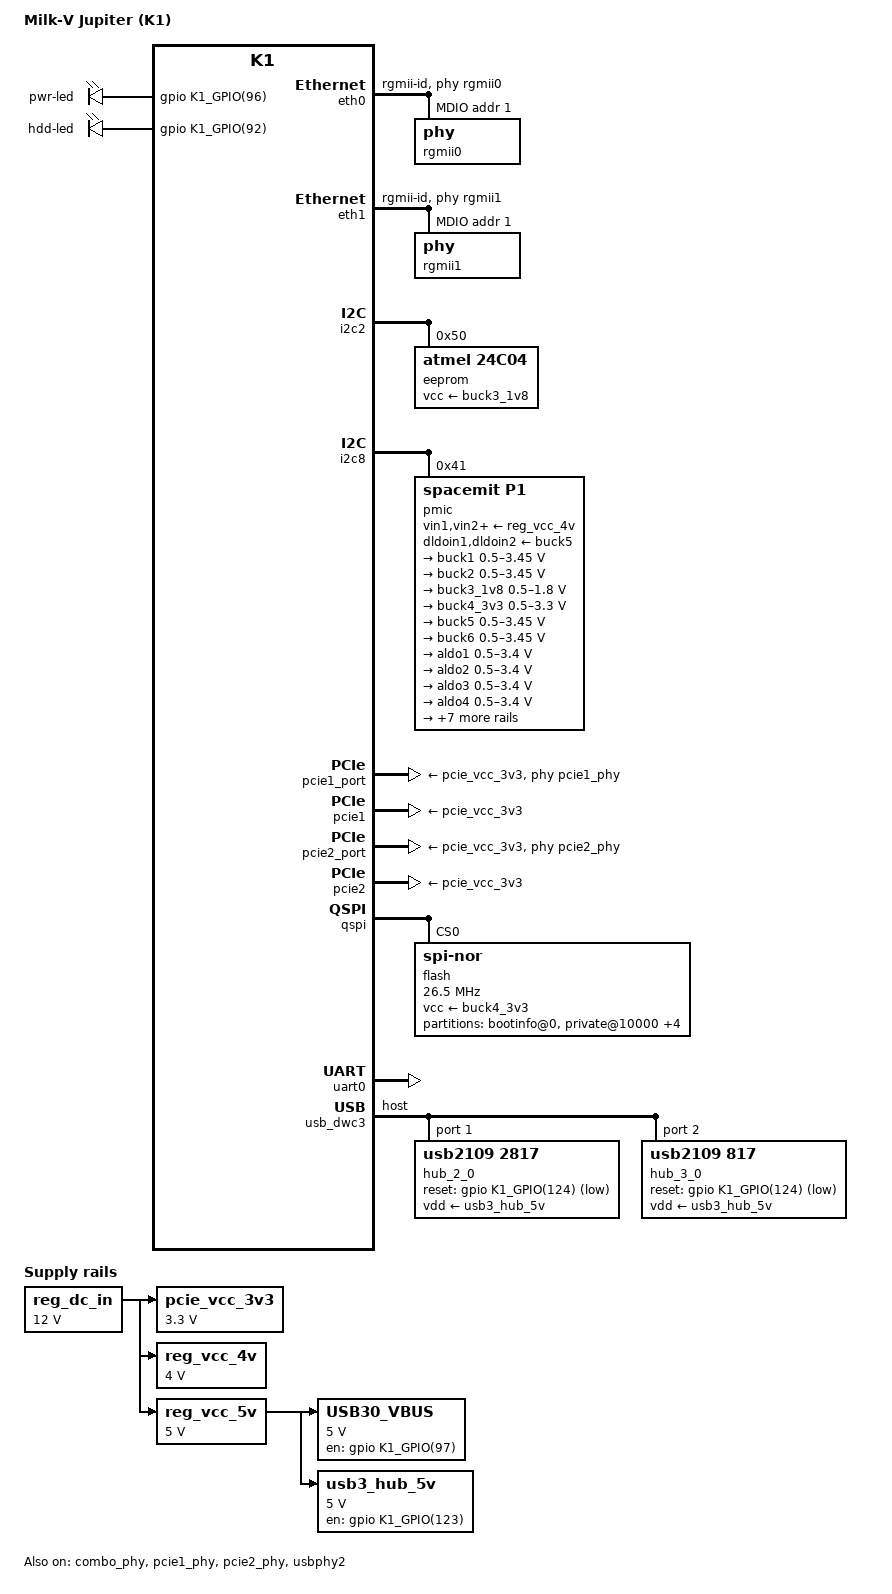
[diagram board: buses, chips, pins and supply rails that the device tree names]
// SPDX-License-Identifier: GPL-2.0 OR MIT
/*
 * Copyright (C) 2024 Yangyu Chen <cyy@cyyself.name>
 * Copyright (C) 2025 Javier Martinez Canillas <javierm@redhat.com>
 */

#include "k1.dtsi"
#include "k1-pinctrl.dtsi"

/ {
	model = "Milk-V Jupiter (K1)";
	compatible = "milkv,jupiter", "spacemit,k1";

	aliases {
		ethernet0 = &eth0;
		ethernet1 = &eth1;
		serial0 = &uart0;
		i2c2 = &i2c2;
		i2c8 = &i2c8;
	};

	chosen {
		stdout-path = "serial0";
	};

	leds {
		compatible = "gpio-leds";

		led1 {
			label = "pwr-led";
			gpios = <&gpio K1_GPIO(96) GPIO_ACTIVE_HIGH>;
			linux,default-trigger = "default-on";
			default-state = "on";
		};

		led2 {
			label = "hdd-led";
			gpios = <&gpio K1_GPIO(92) GPIO_ACTIVE_HIGH>;
			linux,default-trigger = "disk-activity";
		};
	};

	pcie_vcc_3v3: regulator-pcie-vcc3v3 {
		compatible = "regulator-fixed";
		regulator-name = "pcie_vcc3v3";
		regulator-min-microvolt = <3300000>;
		regulator-max-microvolt = <3300000>;
		regulator-boot-on;
		regulator-always-on;
		vin-supply = <&reg_dc_in>;
	};

	reg_dc_in: regulator-dc-in-12v {
		compatible = "regulator-fixed";
		regulator-name = "dc_in_12v";
		regulator-min-microvolt = <12000000>;
		regulator-max-microvolt = <12000000>;
		regulator-boot-on;
		regulator-always-on;
	};

	reg_vcc_4v: regulator-vcc-4v {
		compatible = "regulator-fixed";
		regulator-name = "vcc_4v";
		regulator-min-microvolt = <4000000>;
		regulator-max-microvolt = <4000000>;
		regulator-boot-on;
		regulator-always-on;
		vin-supply = <&reg_dc_in>;
	};

	reg_vcc_5v: regulator-vcc-5v {
		compatible = "regulator-fixed";
		regulator-name = "vcc_5v";
		regulator-min-microvolt = <5000000>;
		regulator-max-microvolt = <5000000>;
		regulator-boot-on;
		regulator-always-on;
		vin-supply = <&reg_dc_in>;
	};

	regulator-usb3-vbus-5v {
		compatible = "regulator-fixed";
		regulator-name = "USB30_VBUS";
		regulator-min-microvolt = <5000000>;
		regulator-max-microvolt = <5000000>;
		regulator-always-on;
		vin-supply = <&reg_vcc_5v>;
		gpio = <&gpio K1_GPIO(97) GPIO_ACTIVE_HIGH>;
		enable-active-high;
	};

	usb3_hub_5v: regulator-usb3-hub-5v {
		compatible = "regulator-fixed";
		regulator-name = "USB30_HUB";
		regulator-min-microvolt = <5000000>;
		regulator-max-microvolt = <5000000>;
		vin-supply = <&reg_vcc_5v>;
		gpio = <&gpio K1_GPIO(123) GPIO_ACTIVE_HIGH>;
		enable-active-high;
	};
};

&combo_phy {
	status = "okay";
};

&eth0 {
	phy-handle = <&rgmii0>;
	phy-mode = "rgmii-id";
	pinctrl-names = "default";
	pinctrl-0 = <&gmac0_cfg>;
	rx-internal-delay-ps = <0>;
	tx-internal-delay-ps = <0>;
	status = "okay";

	mdio-bus {
		#address-cells = <0x1>;
		#size-cells = <0x0>;

		reset-gpios = <&gpio K1_GPIO(110) GPIO_ACTIVE_LOW>;
		reset-delay-us = <10000>;
		reset-post-delay-us = <100000>;

		rgmii0: phy@1 {
			reg = <0x1>;
		};
	};
};

&eth1 {
	phy-handle = <&rgmii1>;
	phy-mode = "rgmii-id";
	pinctrl-names = "default";
	pinctrl-0 = <&gmac1_cfg>;
	rx-internal-delay-ps = <0>;
	tx-internal-delay-ps = <250>;
	status = "okay";

	mdio-bus {
		#address-cells = <0x1>;
		#size-cells = <0x0>;

		reset-gpios = <&gpio K1_GPIO(115) GPIO_ACTIVE_LOW>;
		reset-delay-us = <10000>;
		reset-post-delay-us = <100000>;

		rgmii1: phy@1 {
			reg = <0x1>;
		};
	};
};

&pdma {
	status = "okay";
};

&i2c2 {
	pinctrl-0 = <&i2c2_0_cfg>;
	pinctrl-names = "default";
	status = "okay";

	eeprom@50 {
		compatible = "atmel,24c04";
		reg = <0x50>;
		vcc-supply = <&buck3_1v8>; /* EEPROM_VCC18 */
		pagesize = <16>;
		read-only;
		size = <512>;

		nvmem-layout {
			compatible = "onie,tlv-layout";

			product-name {
			};
		};
	};
};

&i2c8 {
	pinctrl-0 = <&i2c8_cfg>;
	pinctrl-names = "default";
	status = "okay";

	pmic@41 {
		compatible = "spacemit,p1";
		reg = <0x41>;
		interrupts = <64>;
		vin1-supply = <&reg_vcc_4v>;
		vin2-supply = <&reg_vcc_4v>;
		vin3-supply = <&reg_vcc_4v>;
		vin4-supply = <&reg_vcc_4v>;
		vin5-supply = <&reg_vcc_4v>;
		vin6-supply = <&reg_vcc_4v>;
		aldoin-supply = <&reg_vcc_4v>;
		dldoin1-supply = <&buck5>;
		dldoin2-supply = <&buck5>;

		regulators {
			buck1 {
				regulator-min-microvolt = <500000>;
				regulator-max-microvolt = <3450000>;
				regulator-ramp-delay = <5000>;
				regulator-always-on;
			};

			buck2 {
				regulator-min-microvolt = <500000>;
				regulator-max-microvolt = <3450000>;
				regulator-ramp-delay = <5000>;
				regulator-always-on;
			};

			buck3_1v8: buck3 {
				regulator-min-microvolt = <500000>;
				regulator-max-microvolt = <1800000>;
				regulator-ramp-delay = <5000>;
				regulator-always-on;
			};

			buck4_3v3: buck4 {
				regulator-min-microvolt = <500000>;
				regulator-max-microvolt = <3300000>;
				regulator-ramp-delay = <5000>;
				regulator-always-on;
			};

			buck5: buck5 {
				regulator-min-microvolt = <500000>;
				regulator-max-microvolt = <3450000>;
				regulator-ramp-delay = <5000>;
				regulator-always-on;
			};

			buck6 {
				regulator-min-microvolt = <500000>;
				regulator-max-microvolt = <3450000>;
				regulator-ramp-delay = <5000>;
				regulator-always-on;
			};

			aldo1 {
				regulator-min-microvolt = <500000>;
				regulator-max-microvolt = <3400000>;
				regulator-boot-on;
			};

			aldo2 {
				regulator-min-microvolt = <500000>;
				regulator-max-microvolt = <3400000>;
			};

			aldo3 {
				regulator-min-microvolt = <500000>;
				regulator-max-microvolt = <3400000>;
			};

			aldo4 {
				regulator-min-microvolt = <500000>;
				regulator-max-microvolt = <3400000>;
			};

			dldo1 {
				regulator-min-microvolt = <500000>;
				regulator-max-microvolt = <3400000>;
				regulator-boot-on;
			};

			dldo2 {
				regulator-min-microvolt = <500000>;
				regulator-max-microvolt = <3400000>;
			};

			dldo3 {
				regulator-min-microvolt = <500000>;
				regulator-max-microvolt = <3400000>;
			};

			dldo4 {
				regulator-min-microvolt = <500000>;
				regulator-max-microvolt = <3400000>;
				regulator-always-on;
			};

			dldo5 {
				regulator-min-microvolt = <500000>;
				regulator-max-microvolt = <3400000>;
			};

			dldo6 {
				regulator-min-microvolt = <500000>;
				regulator-max-microvolt = <3400000>;
				regulator-always-on;
			};

			dldo7 {
				regulator-min-microvolt = <500000>;
				regulator-max-microvolt = <3400000>;
			};
		};
	};
};

&pcie1_phy {
	pinctrl-names = "default";
	pinctrl-0 = <&pcie1_3_cfg>;
	status = "okay";
};

&pcie1_port {
	phys = <&pcie1_phy>;
	vpcie3v3-supply = <&pcie_vcc_3v3>;
};

&pcie1 {
	vpcie3v3-supply = <&pcie_vcc_3v3>;
	status = "okay";
};

&pcie2_phy {
	pinctrl-names = "default";
	pinctrl-0 = <&pcie2_4_cfg>;
	status = "okay";
};

&pcie2_port {
	phys = <&pcie2_phy>;
	vpcie3v3-supply = <&pcie_vcc_3v3>;
};

&pcie2 {
	vpcie3v3-supply = <&pcie_vcc_3v3>;
	status = "okay";
};

&qspi {
	pinctrl-names = "default";
	pinctrl-0 = <&qspi_cfg>;
	status = "okay";

	flash@0 {
		compatible = "jedec,spi-nor";
		reg = <0>;
		spi-max-frequency = <26500000>;
		spi-rx-bus-width = <4>;
		spi-tx-bus-width = <4>;
		vcc-supply = <&buck4_3v3>; /* QSPI_VCC1833 */
		m25p,fast-read;

		partitions {
			compatible = "fixed-partitions";
			#address-cells = <1>;
			#size-cells = <1>;

			bootinfo@0 {
				reg = <0x0 0x10000>;
			};
			private@10000 {
				reg = <0x10000 0x10000>;
			};
			fsbl@20000 {
				reg = <0x20000 0x40000>;
			};
			env@60000 {
				reg = <0x60000 0x10000>;
			};
			opensbi@70000 {
				reg = <0x70000 0x30000>;
			};
			uboot@a00000 {
				reg = <0xa0000 0x760000>;
			};
		};
	};
};

&uart0 {
	pinctrl-names = "default";
	pinctrl-0 = <&uart0_2_cfg>;
	status = "okay";
};

&usbphy2 {
	status = "okay";
};

&usb_dwc3 {
	dr_mode = "host";
	#address-cells = <1>;
	#size-cells = <0>;
	status = "okay";

	hub_2_0: hub@1 {
		compatible = "usb2109,2817";
		reg = <0x1>;
		vdd-supply = <&usb3_hub_5v>;
		peer-hub = <&hub_3_0>;
		reset-gpios = <&gpio K1_GPIO(124) GPIO_ACTIVE_LOW>;
	};

	hub_3_0: hub@2 {
		compatible = "usb2109,817";
		reg = <0x2>;
		vdd-supply = <&usb3_hub_5v>;
		peer-hub = <&hub_2_0>;
		reset-gpios = <&gpio K1_GPIO(124) GPIO_ACTIVE_LOW>;
	};
};
